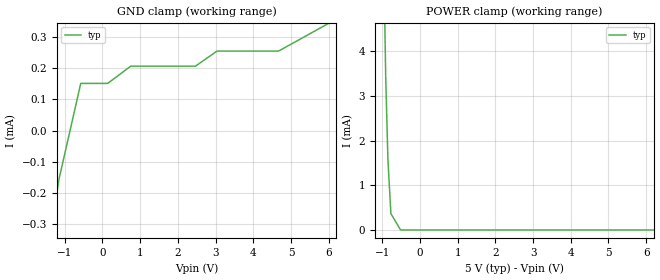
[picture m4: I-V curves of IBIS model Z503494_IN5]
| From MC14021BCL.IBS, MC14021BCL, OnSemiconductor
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| (C) COPYRIGHT 1993-2000
| MENTOR GRAPHICS CORPORATION
| ICX STANDARD LIBRARY, ICX PROJECT MODELING,
| ICX CUSTOM MODELING, ICX VENDOR MODEL
| ALL RIGHTS RESERVED.
| THE FOLLOWING ARE TRADEMARKS OR SERVICE MARKS OF
| MENTOR GRAPHICS CORPORATION:ICX (R), ICX STANDARD
| LIBRARY(R), ICX PROJECT MODELING(R), ICX CUSTOM
| MODELING(R), qualityIBIS(TM), MODELVIEWER(TM),
| AND MODELEDITOR(TM)
| ALL COPIES OF SOFTWARE, INCLUDING BUT NOT LIMITED TO
| ANY MODIFICATIONS, ENHANCEMENTS OR DERIVATIVE WORKS,
| MUST CONTAIN ALL MENTOR GRAPHICS CORPORATION'S
| NOTICES AND LEGENDS, INCLUDING THOSE EMBEDDED IN
| SOFTWARE AND THOSE AFFIXED TO SOFTWARE MEDIUM
| AND CONTAINER, AS RECEIVED FROM MENTOR GRAPHICS
| CORPORATION.
| Model Application Version 1.89 2/18/99.
[Model] Z503494_IN5
Model_type Input
Vinl = 1.500V
Vinh = 3.500V
C_comp 4.000pF NA NA
| variable typ   min   max
[Voltage Range] 5.000V NA NA
[GND Clamp Reference] 0.000V NA NA
[POWER Clamp Reference] 5.000V NA NA
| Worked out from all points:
|   POWER clamp passes 1 mA (typ) near -0.81 V on its own axis
[GND Clamp]
-5V       -3.12mA    NA         NA
-1.151V   -154.8uA   NA         NA
-575.5mV  150.7uA    NA         NA
139.8mV   150.7uA    NA         NA
748.4mV   205.8uA    NA         NA
2.466V    205.8uA    NA         NA
3.038V    254uA      NA         NA
4.671V    254uA      NA         NA
10V       610.4uA    NA         NA
[POWER Clamp]
-5V       473.9mA    NA         NA
-1.26V    30.44mA    NA         NA
-1.06V    12.25mA    NA         NA
-1.006V   8.446mA    NA         NA
-908mV    3.423mA    NA         NA
-850mV    1.588mA    NA         NA
-771mV    366.6uA    NA         NA
-514mV    0A         NA         NA
10V       0A         NA         NA
